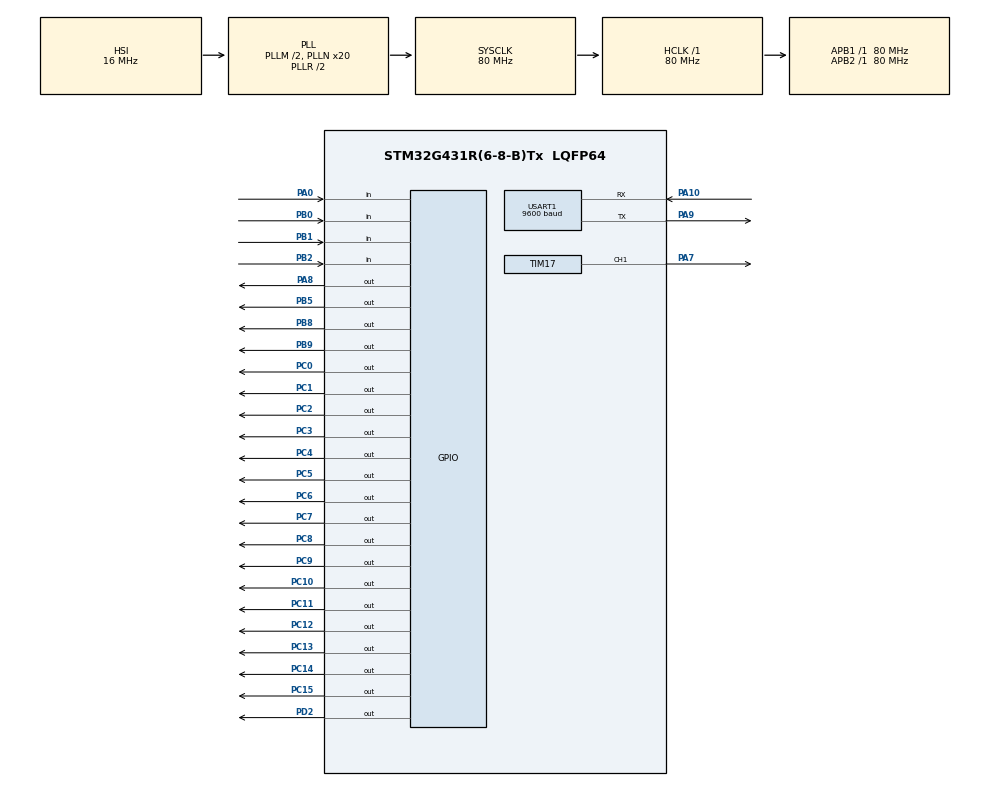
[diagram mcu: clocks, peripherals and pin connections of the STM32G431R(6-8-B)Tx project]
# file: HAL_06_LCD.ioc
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Mcu.Family=STM32G4
Mcu.Name=STM32G431R(6-8-B)Tx
Mcu.Package=LQFP64
NVIC.PriorityGroup=NVIC_PRIORITYGROUP_4
NVIC.TIM3_IRQn=true\:0\:0\:false\:false\:true\:true\:true\:true
NVIC.USART1_IRQn=true\:0\:0\:false\:false\:true\:true\:true\:true
PA0.GPIO_Mode=GPIO_MODE_INPUT
PA0.GPIO_PuPd=GPIO_PULLUP
PA0.Signal=GPIO_Input
PA10.Mode=Asynchronous
PA10.Signal=USART1_RX
PA7.Signal=S_TIM17_CH1
PA8.Signal=GPIO_Output
PA9.Mode=Asynchronous
PA9.Signal=USART1_TX
PB0.GPIO_Mode=GPIO_MODE_INPUT
PB0.GPIO_PuPd=GPIO_PULLUP
PB0.Signal=GPIO_Input
PB1.GPIO_Mode=GPIO_MODE_INPUT
PB1.GPIO_PuPd=GPIO_PULLUP
PB1.Signal=GPIO_Input
PB2.GPIO_Mode=GPIO_MODE_INPUT
PB2.GPIO_PuPd=GPIO_PULLUP
PB2.Signal=GPIO_Input
PB5.Signal=GPIO_Output
PB8-BOOT0.Signal=GPIO_Output
PB9.Signal=GPIO_Output
PC0.Signal=GPIO_Output
PC1.Signal=GPIO_Output
PC10.Signal=GPIO_Output
PC11.Signal=GPIO_Output
PC12.Signal=GPIO_Output
PC13.Signal=GPIO_Output
PC14-OSC32_IN.Signal=GPIO_Output
PC15-OSC32_OUT.Signal=GPIO_Output
PC2.Signal=GPIO_Output
PC3.Signal=GPIO_Output
PC4.Signal=GPIO_Output
PC5.Signal=GPIO_Output
PC6.Signal=GPIO_Output
PC7.Signal=GPIO_Output
PC8.Signal=GPIO_Output
PC9.Signal=GPIO_Output
PD2.Signal=GPIO_Output
PF0-OSC_IN.Mode=HSE-External-Oscillator
PF0-OSC_IN.Signal=RCC_OSC_IN
PF1-OSC_OUT.Mode=HSE-External-Oscillator
PF1-OSC_OUT.Signal=RCC_OSC_OUT
ProjectManager.HeapSize=0x200
ProjectManager.StackSize=0x400
ProjectManager.TargetToolchain=MDK-ARM V5.27
RCC.ADC12Freq_Value=80000000
RCC.AHBFreq_Value=80000000
RCC.APB1Freq_Value=80000000
RCC.APB1TimFreq_Value=80000000
RCC.APB2Freq_Value=80000000
RCC.APB2TimFreq_Value=80000000
RCC.CortexFreq_Value=80000000
RCC.EXTERNAL_CLOCK_VALUE=12288000
RCC.HCLKFreq_Value=80000000
RCC.HSE_VALUE=24000000
RCC.HSI48_VALUE=48000000
RCC.HSI_VALUE=16000000
RCC.LSE_VALUE=32768
RCC.PLLM=RCC_PLLM_DIV2
RCC.PLLN=20
RCC.SYSCLKFreq_VALUE=80000000
RCC.SYSCLKSource=RCC_SYSCLKSOURCE_PLLCLK
RCC.USBFreq_Value=80000000
RCC.VCOOutputFreq_Value=160000000
SH.S_TIM17_CH1.0=TIM17_CH1,PWM Generation1 CH1
TIM17.Channel=TIM_CHANNEL_1
TIM17.PeriodNoDither=100-1
TIM17.Prescaler=400-1
TIM17.PulseNoDither_1=0
TIM3.PeriodNoDither=10000-1
TIM3.Prescaler=80-1
USART1.BaudRate=9600
USART1.VirtualMode-Asynchronous=VM_ASYNC
VP_SYS_VS_DBSignals.Mode=DisableDeadBatterySignals
VP_TIM17_VS_ClockSourceINT.Mode=Enable_Timer
VP_TIM3_VS_ClockSourceINT.Mode=Internal
board=custom

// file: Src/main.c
/* USER CODE BEGIN Header */
/**
  ******************************************************************************
  * @file           : main.c
  * @brief          : Main program body
  ******************************************************************************
  * @attention
  *
  * <h2><center>&copy; Copyright (c) 2021 STMicroelectronics.
  * All rights reserved.</center></h2>
  *
  * This software component is licensed by ST under BSD 3-Clause license,
  * the "License"; You may not use this file except in compliance with the
  * License. You may obtain a copy of the License at:
  *                        opensource.org/licenses/BSD-3-Clause
  *
  ******************************************************************************
  */
/* USER CODE END Header */
#include "main.h"
#include "tim.h"
#include "usart.h"
#include "gpio.h"

/* USER CODE BEGIN PV */
extern struct keys key[4];
bool view=0;
bool pwm_sta=0;

float cnbr=3.50;
float vnbr=2.00;

uint8_t cnbr_num=0;
uint8_t vnbr_num=0;

extern char rxdata[30];
extern uint8_t rxbuf;
extern uint8_t rxpointer;

char car_type[5];
char car_name[5];
uint8_t Y,M,D,h,m,s;

uint32_t car_time;
uint32_t now_time;
uint32_t difference_time;

cars car[8];
bool ok_flag=0;

/* USER CODE END PV */

void SystemClock_Config(void);
/* USER CODE BEGIN PFP */
void key_proc(void);
void disp_proc(void);
void pwm_proc(void);
void rx_proc(void);
void inputdata_proc(void);
void led_proc(void);
/* USER CODE END PFP */

int main(void)
{

  /* MCU Configuration--------------------------------------------------------*/

  /* Reset of all peripherals, Initializes the Flash interface and the Systick. */
  HAL_Init();

  /* Configure the system clock */
  SystemClock_Config();

  /* Initialize all configured peripherals */
  MX_GPIO_Init();
  MX_TIM3_Init();
  MX_TIM17_Init();
  MX_USART1_UART_Init();
  /* USER CODE BEGIN 2 */

	LCD_Init();
	HAL_TIM_Base_Start_IT(&htim3);
	HAL_UART_Receive_IT(&huart1,&rxbuf,1);
	HAL_TIM_PWM_Start(&htim17,TIM_CHANNEL_1);
	__HAL_TIM_SetCompare(&htim17,TIM_CHANNEL_1,0);

  /* USER CODE END 2 */

  /* Infinite loop */
  /* USER CODE BEGIN WHILE */

	LCD_Clear(Black);
	LCD_SetBackColor(Black);
	LCD_SetTextColor(White);
//	led_init();
  while (1)
  {
    /* USER CODE END WHILE */

    /* USER CODE BEGIN 3 */

		key_proc();
		disp_proc();
		pwm_proc();
		led_proc();

		if(rxpointer!=0)
		{
			uint8_t temp;
			temp=rxpointer;
			HAL_Delay(1);
			if(temp==rxpointer)
				rx_proc();
		}

  }
  /* USER CODE END 3 */
}

void SystemClock_Config(void)
{
  RCC_OscInitTypeDef RCC_OscInitStruct = {0};
  RCC_ClkInitTypeDef RCC_ClkInitStruct = {0};

  /** Configure the main internal regulator output voltage
  */
  HAL_PWREx_ControlVoltageScaling(PWR_REGULATOR_VOLTAGE_SCALE1);

  /** Initializes the RCC Oscillators according to the specified parameters
  * in the RCC_OscInitTypeDef structure.
  */
  RCC_OscInitStruct.OscillatorType = RCC_OSCILLATORTYPE_HSI;
  RCC_OscInitStruct.HSIState = RCC_HSI_ON;
  RCC_OscInitStruct.HSICalibrationValue = RCC_HSICALIBRATION_DEFAULT;
  RCC_OscInitStruct.PLL.PLLState = RCC_PLL_ON;
  RCC_OscInitStruct.PLL.PLLSource = RCC_PLLSOURCE_HSI;
  RCC_OscInitStruct.PLL.PLLM = RCC_PLLM_DIV2;
  RCC_OscInitStruct.PLL.PLLN = 20;
  RCC_OscInitStruct.PLL.PLLP = RCC_PLLP_DIV2;
  RCC_OscInitStruct.PLL.PLLQ = RCC_PLLQ_DIV2;
  RCC_OscInitStruct.PLL.PLLR = RCC_PLLR_DIV2;
  if (HAL_RCC_OscConfig(&RCC_OscInitStruct) != HAL_OK)
  {
    Error_Handler();
  }

  /** Initializes the CPU, AHB and APB buses clocks
  */
  RCC_ClkInitStruct.ClockType = RCC_CLOCKTYPE_HCLK|RCC_CLOCKTYPE_SYSCLK
                              |RCC_CLOCKTYPE_PCLK1|RCC_CLOCKTYPE_PCLK2;
  RCC_ClkInitStruct.SYSCLKSource = RCC_SYSCLKSOURCE_PLLCLK;
  RCC_ClkInitStruct.AHBCLKDivider = RCC_SYSCLK_DIV1;
  RCC_ClkInitStruct.APB1CLKDivider = RCC_HCLK_DIV1;
  RCC_ClkInitStruct.APB2CLKDivider = RCC_HCLK_DIV1;

  if (HAL_RCC_ClockConfig(&RCC_ClkInitStruct, FLASH_LATENCY_2) != HAL_OK)
  {
    Error_Handler();
  }
}

/* USER CODE BEGIN 4 */
void key_proc()
{
	if(key[0].key_single==1)
	{
		view=!view;
		key[0].key_single=0;
	}
	if(key[1].key_single==1)
	{
		if(view==1)
		{
			cnbr+=0.5;
			vnbr+=0.5;
		}
		key[1].key_single=0;
	}
	if(key[2].key_single==1)
	{
		if(view==1)
		{
			cnbr-=0.5;
			if(cnbr<0.00)
				cnbr=0;
			vnbr-=0.5;
			if(vnbr<0.00)
				vnbr=0;
		}
		key[2].key_single=0;
	}
	if(key[3].key_single==1)
	{
		pwm_sta=!pwm_sta;
		key[3].key_single=0;
	}
}

void disp_proc()
{
	if(view==0)
	{
		char text[20];
		sprintf(text,"       Data    ");
		LCD_DisplayStringLine(Line1, (uint8_t *)text);
		sprintf(text,"   CNBR:%d    ",cnbr_num);
		LCD_DisplayStringLine(Line3, (uint8_t *)text);
		sprintf(text,"   VNBR:%d    ",vnbr_num);
		LCD_DisplayStringLine(Line5, (uint8_t *)text);
		sprintf(text,"   IDLE:%d    ",(8-cnbr_num-vnbr_num));
		LCD_DisplayStringLine(Line7, (uint8_t *)text);
	}
	if(view==1)
	{
		char text[20];
		sprintf(text,"       Para    ");
		LCD_DisplayStringLine(Line1, (uint8_t *)text);
		sprintf(text,"   CNBR:%.2f    ",cnbr);
		LCD_DisplayStringLine(Line3, (uint8_t *)text);
		sprintf(text,"   VNBR:%.2f    ",vnbr);
		LCD_DisplayStringLine(Line5, (uint8_t *)text);
		sprintf(text,"            ");
		LCD_DisplayStringLine(Line7, (uint8_t *)text);
	}
}

void pwm_proc()
{
	if(pwm_sta==0)
	{
		__HAL_TIM_SetCompare(&htim17,TIM_CHANNEL_1,0);
	}
	if(pwm_sta==1)
	{
		__HAL_TIM_SetCompare(&htim17,TIM_CHANNEL_1,20);
	}
}

void rx_proc()
{
	if(rxpointer>0)
	{

//判断读入数据正确性
		if(rxpointer==22)//输入长度正确
		{
//			sscanf(rxdata,"%4s:%4s:%12s",car_type,car_name,&car_time);
//			car_time_proc();
//			char text[30];
//			sprintf(text,"%s\r\n",&car_time);
//			HAL_UART_Transmit(&huart1,(uint8_t *)text,strlen(text),50);

			if(((rxdata[0]=='C')||(rxdata[0]=='V'))&&(rxdata[1]=='N')&&(rxdata[2]=='B')&&(rxdata[3]=='R')&&(rxdata[4]==':')&&(rxdata[9]==':'))//判断输入格式正确
			{
				for(int i=0;i<4;i++)
				{
					car_type[i]=rxdata[i];
				}
				car_type[4]='\0';
				for(int i=0;i<4;i++)
				{
					car_name[i]=rxdata[i+5];
				}
				car_name[4]='\0';

				Y=(rxdata[10]-'0')*10+(rxdata[11]-'0');
				M=(rxdata[12]-'0')*10+(rxdata[13]-'0');
				D=(rxdata[14]-'0')*10+(rxdata[15]-'0');
				h=(rxdata[16]-'0')*10+(rxdata[17]-'0');
				m=(rxdata[18]-'0')*10+(rxdata[19]-'0');
				s=(rxdata[20]-'0')*10+(rxdata[21]-'0');

//				char text[30];
//				sprintf(text,"%s\r\n",car_type);
//				HAL_UART_Transmit(&huart1,(uint8_t *)text,strlen(text),50);
//				sprintf(text,"%s\r\n",car_name);
//				HAL_UART_Transmit(&huart1,(uint8_t *)text,strlen(text),50);
//				sprintf(text,"%d,%d,%d,%d,%d,%d\r\n",Y,M,D,h,m,s);
//				HAL_UART_Transmit(&huart1,(uint8_t *)text,strlen(text),50);

				if((M>12)||(D>31)||(h>23)||(m>59)||(s>59))//判断输入数据正确
				{
					char text[30];
					sprintf(text,"ERROR\r\n");
					HAL_UART_Transmit(&huart1,(uint8_t *)text,strlen(text),50);
				}
				else //判断完毕
				{
//					char text[30];
//					sprintf(text,"%s\r\n",car_name);
//					HAL_UART_Transmit(&huart1,(uint8_t *)text,strlen(text),50);
					inputdata_proc();

				}
			}
			else
			{
				char text[30];
				sprintf(text,"ERROR\r\n");
				HAL_UART_Transmit(&huart1,(uint8_t *)text,strlen(text),50);
			}

		}
		else
		{
			char text[30];
			sprintf(text,"ERROR\r\n");
			HAL_UART_Transmit(&huart1,(uint8_t *)text,strlen(text),50);
		}
		rxpointer=0;
		memset(rxdata,0,30);
	}
}

void inputdata_proc()
{
//查询是否已经有此车
	ok_flag=0;
	for(int i=0;i<8;i++)
	{
		if(car[i].isfull)//与库中车做对比
		{
			if((car_name[0]==car[i].car_name[0])&&(car_name[1]==car[i].car_name[1])&&(car_name[2]==car[i].car_name[2])&&(car_name[3]==car[i].car_name[3]))
			{
			//库中已经有此车
				if(car_type[0]=='C')
					cnbr_num--;
				if(car_type[0]=='V')
					vnbr_num--;

			//计算时间差和费用
				if(M<car[i].mon)
				{
					char text[30];
					sprintf(text,"wrong time\r\n");
					HAL_UART_Transmit(&huart1,(uint8_t *)text,strlen(text),50);
				}
				else
				{
					if(M==car[i].mon)
					{
						car_time=car[i].day*3600*24+car[i].hour*3600+car[i].min*60+car[i].sec;
						now_time=D*3600*24+h*3600+m*60+s;
					}
					else
					{
						if(M-car[i].mon>1)
						{
							char text[30];
							sprintf(text,"too long time\r\n");
							HAL_UART_Transmit(&huart1,(uint8_t *)text,strlen(text),50);
						}
						else
						{
							if(M-car[i].mon==1)
							{
								car_time=car[i].day*3600*24+car[i].hour*3600+car[i].min*60+car[i].sec;
								switch(car[i].mon)
								{
									case 1:
									{
										now_time=3600*24*31+D*3600*24+h*3600+m*60+s;
									}
									case 2:
									{
										now_time=3600*24*28+D*3600*24+h*3600+m*60+s;
									}
									case 3:
									{
										now_time=3600*24*31+D*3600*24+h*3600+m*60+s;
									}
									case 4:
									{
										now_time=3600*24*30+D*3600*24+h*3600+m*60+s;
									}
									case 5:
									{
										now_time=3600*24*31+D*3600*24+h*3600+m*60+s;
									}
									case 6:
									{
										now_time=3600*24*30+D*3600*24+h*3600+m*60+s;
									}
									case 7:
									{
										now_time=3600*24*31+D*3600*24+h*3600+m*60+s;
									}
									case 8:
									{
										now_time=3600*24*31+D*3600*24+h*3600+m*60+s;
									}
									case 9:
									{
										now_time=3600*24*30+D*3600*24+h*3600+m*60+s;
									}
									case 10:
									{
										now_time=3600*24*31+D*3600*24+h*3600+m*60+s;
									}
									case 11:
									{
										now_time=3600*24*30+D*3600*24+h*3600+m*60+s;
									}
									case 12:
									{
										now_time=3600*24*31+D*3600*24+h*3600+m*60+s;
									}

								}
							}
						}
					}
				}

				difference_time=now_time-car_time;
				if(difference_time%3600==0)
				{
					if(car_type[0]=='C')
					{
						char text[30];
						sprintf(text,"%s:%s:%d:%.2f\r\n",car_type,car_name,difference_time/3600,cnbr*difference_time/3600);
						HAL_UART_Transmit(&huart1,(uint8_t *)text,strlen(text),50);
					}

					if(car_type[0]=='V')
					{
						char text[30];
						sprintf(text,"%s:%s:%d:%.2f\r\n",car_type,car_name,difference_time/3600,vnbr*difference_time/3600);
						HAL_UART_Transmit(&huart1,(uint8_t *)text,strlen(text),50);
					}
				}
				else
				{
					if(car_type[0]=='C')
					{
						char text[30];
						sprintf(text,"%s:%s:%d:%.2f\r\n",car_type,car_name,(difference_time/3600)+1,cnbr*((difference_time/3600)+1));
						HAL_UART_Transmit(&huart1,(uint8_t *)text,strlen(text),50);
					}

					if(car_type[0]=='V')
					{
						char text[30];
						sprintf(text,"%s:%s:%d:%.2f\r\n",car_type,car_name,(difference_time/3600)+1,vnbr*((difference_time/3600)+1));
						HAL_UART_Transmit(&huart1,(uint8_t *)text,strlen(text),50);
					}
				}

//				char text[30];
//				sprintf(text,"already had\r\n");
//				HAL_UART_Transmit(&huart1,(uint8_t *)text,strlen(text),50);

				car[i].isfull=0;
				ok_flag=1;
				break;
			}
		}
	}
	if(ok_flag==0)//库中没有此车
	{
		if((cnbr_num+vnbr_num)==8)//车位已满，停不下了
		{
			char text[30];
			sprintf(text,"NO PLACE!\r\n");
			HAL_UART_Transmit(&huart1,(uint8_t *)text,strlen(text),50);
		}
		else
		{
			//还有车位，寻找空车位
			for(int i=0;i<8;i++)
			{
				if(car[i].isfull==0)//找到空车位
				{
					if(car_type[0]=='C')
						cnbr_num++;
					if(car_type[0]=='V')
						vnbr_num++;
					for(int j=0;j<4;j++)//读入数据
					{
						car[i].car_name[j]=car_name[j];
						car[i].car_type[j]=car_type[j];
					}
					//读入时间
					car[i].year=Y;
					car[i].mon=M;
					car[i].day=D;
					car[i].hour=h;
					car[i].min=m;
					car[i].sec=s;
					car[i].isfull=1;

					char text[30];
					sprintf(text,"input ok\r\n");
					HAL_UART_Transmit(&huart1,(uint8_t *)text,strlen(text),50);

					break;
				}
			}
		}
	}
}

void led_proc()
{
	led_init();
	if((8-cnbr_num-vnbr_num)==0)
		LD1_off();
	else
		LD1_on();
	if(pwm_sta==0)
		LD2_off();
	else
		LD2_on();

}

/* USER CODE END 4 */

void Error_Handler(void)
{
}
